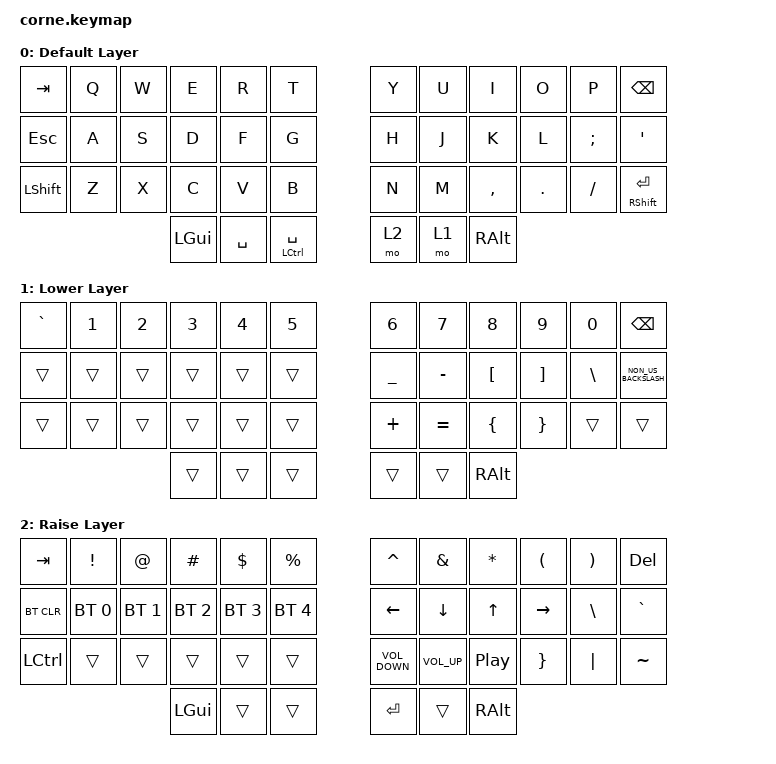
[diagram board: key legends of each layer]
/*
 * Copyright (c) 2020 The ZMK Contributors
 *
 * SPDX-License-Identifier: MIT
 */

#include <behaviors.dtsi>
#include <dt-bindings/zmk/bt.h>
#include <dt-bindings/zmk/keys.h>

/ {
    keymap {
        compatible = "zmk,keymap";

        default_layer {
            display-name = "Default Layer";

            // -----------------------------------------------------------------------------------------
            // |  TAB |  Q  |  W  |  E  |  R  |  T  |   |  Y  |  U   |  I  |  O  |  P  | BSPC |
            // | CTRL |  A  |  S  |  D  |  F  |  G  |   |  H  |  J   |  K  |  L  |  ;  |  '   |
            // | SHFT |  Z  |  X  |  C  |  V  |  B  |   |  N  |  M   |  ,  |  .  |  /  | ESC  |
            //                    | GUI | LWR | SPC |   | ENT | RSE  | ALT |

            bindings = <
&kp TAB         &kp Q  &kp W  &kp E     &kp R      &kp T                     &kp Y  &kp U  &kp I      &kp O    &kp P     &kp BSPC
&kp ESC         &kp A  &kp S  &kp D     &kp F      &kp G                     &kp H  &kp J  &kp K      &kp L    &kp SEMI  &kp SQT
&kp LEFT_SHIFT  &kp Z  &kp X  &kp C     &kp V      &kp B                     &kp N  &kp M  &kp COMMA  &kp DOT  &kp FSLH  &mt RIGHT_SHIFT ENTER
                              &kp LGUI  &kp SPACE  &mt LEFT_CONTROL SPACE    &mo 2  &mo 1  &kp RALT
            >;
        };

        lower_layer {
            display-name = "Lower Layer";

            // -----------------------------------------------------------------------------------------
            // |  TAB |  1  |  2  |  3  |  4  |  5  |   |  6  |  7  |  8  |  9  |  0  | BSPC |
            // | BTCLR| BT1 | BT2 | BT3 | BT4 | BT5 |   | LFT | DWN |  UP | RGT |     |      |
            // | SHFT |     |     |     |     |     |   |     |     |     |     |     |      |
            //                    | GUI |     | SPC |   | ENT |     | ALT |

            bindings = <
&kp GRAVE  &kp N1  &kp N2  &kp N3  &kp N4  &kp N5    &kp N6          &kp N7     &kp N8            &kp N9             &kp N0         &kp BACKSPACE
&trans     &trans  &trans  &trans  &trans  &trans    &kp UNDERSCORE  &kp MINUS  &kp LEFT_BRACKET  &kp RIGHT_BRACKET  &kp BACKSLASH  &kp NON_US_BACKSLASH
&trans     &trans  &trans  &trans  &trans  &trans    &kp PLUS        &kp EQUAL  &kp LEFT_BRACE    &kp RIGHT_BRACE    &trans         &trans
                           &trans  &trans  &trans    &trans          &trans     &kp RALT
            >;
        };

        raise_layer {
            display-name = "Raise Layer";

            // -----------------------------------------------------------------------------------------
            // |  TAB |  !  |  @  |  #  |  $  |  %  |   |  ^  |  &  |  *  |  (  |  )  | BSPC |
            // | CTRL |     |     |     |     |     |   |  -  |  =  |  [  |  ]  |  \  |  `   |
            // | SHFT |     |     |     |     |     |   |  _  |  +  |  {  |  }  | "|" |  ~   |
            //                    | GUI |     | SPC |   | ENT |     | ALT |

            bindings = <
&kp TAB     &kp EXCL      &kp AT        &kp HASH      &kp DLLR      &kp PRCNT       &kp CARET          &kp AMPS         &kp ASTRK         &kp LPAR   &kp RIGHT_PARENTHESIS  &kp DELETE
&bt BT_CLR  &bt BT_SEL 0  &bt BT_SEL 1  &bt BT_SEL 2  &bt BT_SEL 3  &bt BT_SEL 4    &kp LEFT_ARROW     &kp DOWN         &kp UP_ARROW      &kp RIGHT  &kp BSLH               &kp GRAVE
&kp LCTRL   &trans        &trans        &trans        &trans        &trans          &kp C_VOLUME_DOWN  &kp C_VOLUME_UP  &kp C_PLAY_PAUSE  &kp RBRC   &kp PIPE               &kp TILDE
                                        &kp LGUI      &trans        &trans          &kp RET            &trans           &kp RALT
            >;
        };
    };
};
